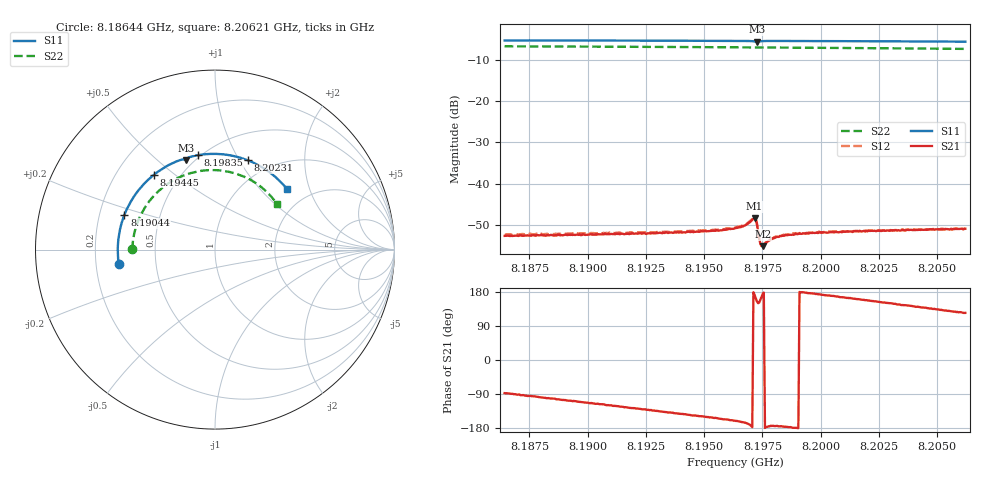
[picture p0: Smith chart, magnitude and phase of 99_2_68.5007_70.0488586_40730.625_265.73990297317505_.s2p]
#  HZ  S  RI  R  50.00
! Rohde & Schwarz Vector Network Analyzer
! Rohde-Schwarz,ZNB20-2Port,1311601062101988,3.16
! Created: UTC 3/20/2024, 5:08:07 PM
! freq[Hz]  re:S11  im:S11  re:S21  im:S21  re:S12  im:S12  re:S22  im:S22
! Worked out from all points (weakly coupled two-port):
!   401 points, 8.18644 GHz to 8.20621 GHz, reference 50 ohm
!   highest |S21| = -48.48 dB at 8.19716 GHz (marker M1); lowest = -55.2 dB at 8.19751 GHz (marker M2)
!   lowest |S11| = -5.6 dB at 8.19726 GHz (marker M3), VSWR 3.20, Z = 22.7 + j31.1 ohm
!   |S11| at or under -10 dB: nowhere
!   |S22| runs from -7.4 to -6.7 dB; largest |S21 - S12| = 0.00021
!   S11 on the Smith chart (normalised r, x): 8.18644 GHz: 0.30, -0.07; 8.19044 GHz: 0.31, +0.17; 8.19445 GHz: 0.36, +0.42; 8.19835 GHz: 0.48, +0.72; 8.20231 GHz: 0.78, +1.09; 8.20621 GHz: 1.55, +1.43
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8.186436e9  -0.536 -0.0819  0.000101 -0.00232  5.31e-05 -0.0024  -0.4604 0.000574
8.188166e9  -0.5402 0.0389  -0.000393 -0.00231  -0.000459 -0.0024  -0.4484 0.0958
8.189748e9  -0.5204 0.1476  -0.000846 -0.00222  -0.000925 -0.00229  -0.4203 0.179
8.190441e9  -0.5048 0.1936  -0.00104 -0.0022  -0.00117 -0.0022  -0.403 0.2133
8.193061e9  -0.4099 0.3502  -0.00179 -0.00178  -0.0019 -0.00177  -0.3126 0.3274
8.194445e9  -0.3396 0.4175  -0.00215 -0.00145  -0.00222 -0.00145  -0.2512 0.3742
8.195682e9  -0.2671 0.4661  -0.00245 -0.00115  -0.00256 -0.00109  -0.19 0.4067
8.196324e9  -0.226 0.4865  -0.00271 -0.00098  -0.00277 -0.000879  -0.1564 0.4197
8.19667e9  -0.2024 0.4959  -0.00291 -0.000828  -0.00302 -0.000726  -0.1377 0.4256
8.197066e9  -0.1722 0.5025  -0.00363 -0.000178  -0.00368 -4.91e-05  -0.116 0.4311
8.197165e9  -0.1648 0.5006  -0.00373 0.000543  -0.00379 0.000705  -0.1105 0.4324
8.197214e9  -0.1629 0.4987  -0.0035 0.00106  -0.00351 0.0012  -0.108 0.4328
8.197264e9  -0.163 0.4977  -0.00293 0.00138  -0.00295 0.0015  -0.1053 0.4334
8.197412e9  -0.1606 0.5049  -0.00174 0.000666  -0.00173 0.000747  -0.0972 0.4353
8.197462e9  -0.1574 0.5075  -0.0017 0.000398  -0.00173 0.000466  -0.0945 0.4357
8.197511e9  -0.1541 0.5098  -0.00173 0.000193  -0.00175 0.000309  -0.0918 0.4361
8.197857e9  -0.1286 0.5191  -0.00207 -0.00023  -0.00216 -0.00015  -0.0723 0.4393
8.198352e9  -0.0932 0.5266  -0.00232 -0.000186  -0.00232 -9.03e-05  -0.0445 0.4422
8.199637e9  -0.00206 0.5334  -0.00251 0.000188  -0.00253 0.000307  0.0286 0.4413
8.202307e9  0.1825 0.4978  -0.00243 0.00115  -0.0024 0.0012  0.1749 0.4004
8.20295e9  0.224 0.4796  -0.00231 0.00134  -0.00229 0.00143  0.2075 0.3829
8.206213e9  0.4027 0.3354  -0.0016 0.00234  -0.00153 0.00242  0.3453 0.2539
